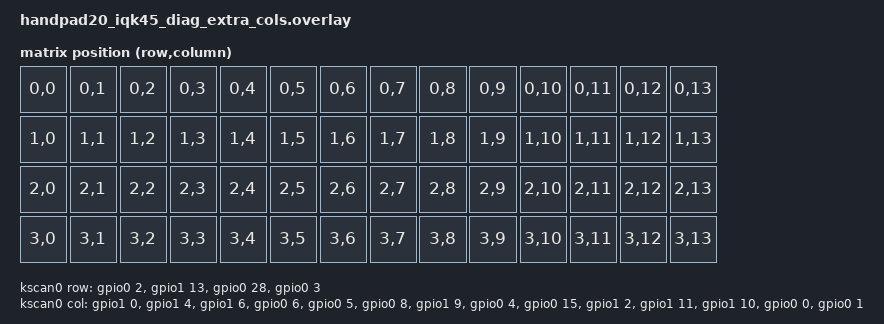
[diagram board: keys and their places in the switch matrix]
#include <dt-bindings/zmk/matrix_transform.h>

/ {
    chosen {
        zmk,kscan = &kscan0;
        zmk,matrix_transform = &default_transform;
    };

    kscan0: kscan {
        compatible = "zmk,kscan-gpio-matrix";
        label = "KSCAN";

        diode-direction = "col2row";
        wakeup-source;

        /*
         * Extra-column probe.
         *
         * Top-row output mapping:
         * F1=P1.00, F2=P1.04, F3=P1.06,
         * F4=P0.06, F5=P0.05, F6=P0.08, F7=P1.09, F8=P0.04,
         * F9=P0.15, F10=P1.02, F11=P1.11, F12=P1.10,
         * PrintScreen=P0.00, ScrollLock=P0.01.
         */
        col-gpios = <&gpio1 0 GPIO_ACTIVE_HIGH>,
                    <&gpio1 4 GPIO_ACTIVE_HIGH>,
                    <&gpio1 6 GPIO_ACTIVE_HIGH>,
                    <&gpio0 6 GPIO_ACTIVE_HIGH>,
                    <&gpio0 5 GPIO_ACTIVE_HIGH>,
                    <&gpio0 8 GPIO_ACTIVE_HIGH>,
                    <&gpio1 9 GPIO_ACTIVE_HIGH>,
                    <&gpio0 4 GPIO_ACTIVE_HIGH>,
                    <&gpio0 15 GPIO_ACTIVE_HIGH>,
                    <&gpio1 2 GPIO_ACTIVE_HIGH>,
                    <&gpio1 11 GPIO_ACTIVE_HIGH>,
                    <&gpio1 10 GPIO_ACTIVE_HIGH>,
                    <&gpio0 0 GPIO_ACTIVE_HIGH>,
                    <&gpio0 1 GPIO_ACTIVE_HIGH>;

        row-gpios = <&gpio0 2 (GPIO_ACTIVE_HIGH | GPIO_PULL_DOWN)>,
                    <&gpio1 13 (GPIO_ACTIVE_HIGH | GPIO_PULL_DOWN)>,
                    <&gpio0 28 (GPIO_ACTIVE_HIGH | GPIO_PULL_DOWN)>,
                    <&gpio0 3 (GPIO_ACTIVE_HIGH | GPIO_PULL_DOWN)>;
    };

    default_transform: keymap_transform0 {
        compatible = "zmk,matrix-transform";
        columns = <14>;
        rows = <4>;

        map = <
            RC(0,0) RC(0,1) RC(0,2) RC(0,3) RC(0,4) RC(0,5) RC(0,6) RC(0,7) RC(0,8) RC(0,9) RC(0,10) RC(0,11) RC(0,12) RC(0,13)
            RC(1,0) RC(1,1) RC(1,2) RC(1,3) RC(1,4) RC(1,5) RC(1,6) RC(1,7) RC(1,8) RC(1,9) RC(1,10) RC(1,11) RC(1,12) RC(1,13)
            RC(2,0) RC(2,1) RC(2,2) RC(2,3) RC(2,4) RC(2,5) RC(2,6) RC(2,7) RC(2,8) RC(2,9) RC(2,10) RC(2,11) RC(2,12) RC(2,13)
            RC(3,0) RC(3,1) RC(3,2) RC(3,3) RC(3,4) RC(3,5) RC(3,6) RC(3,7) RC(3,8) RC(3,9) RC(3,10) RC(3,11) RC(3,12) RC(3,13)
        >;
    };
};
